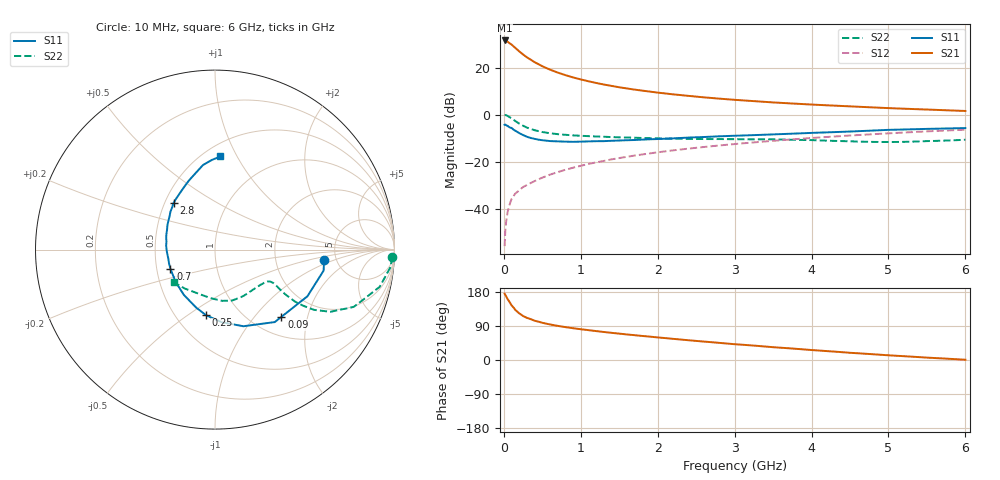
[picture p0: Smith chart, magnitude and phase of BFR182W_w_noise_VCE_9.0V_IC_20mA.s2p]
! (c) 2017  Infineon Technologies AG, Munich
! Infineon Technologies  Discrete & RF Semiconductors
! BFR182W
! VCE =  9.0 V,  IC =  20 mA
! Common Emitter S-Parameters:  Jan 2017
# GHz  S  MA  R  50
!  f  S11  S21  S12  S22
! GHz  MAG  ANG  MAG  ANG  MAG  ANG  MAG  ANG
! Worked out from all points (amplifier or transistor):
!   77 points, 10 MHz to 6 GHz, reference 50 ohm
!   highest |S21| = 31.6 dB at 10 MHz (marker M1)
!   |S21| within 3 dB of that: start of sweep to 143.4 MHz
!   unconditionally stable (mu >= 1): 854.4 MHz to 2.398 GHz
!   at 130 MHz: K = 0.41, MSG = 31.7 dB, |S12| = -34.4 dB
!   at 2.2 GHz: K = 1.01, MAG = 11.2 dB, |S12| = -15.2 dB
!   at 6 GHz: K = 0.86, MSG = 4.0 dB, |S12| = -6.4 dB
!   lowest NFmin = 1.41 dB at 450 MHz
!   S11 on the Smith chart (normalised r, x): 10 MHz: 4.00, -0.71; 90 MHz: 1.34, -1.39; 250 MHz: 0.70, -0.59; 700 MHz: 0.59, -0.14; 2.8 GHz: 0.56, +0.33; 6 GHz: 0.60, +0.86
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0.01  0.6104 -5.2  37.88 174.9  0.0016 85.1  0.9852 -2.4
0.02  0.6164 -10.9  37.76 171.4  0.0036 87.1  0.9848 -5.4
0.05  0.5769 -26.8  35.66 160.3  0.0086 78.8  0.9401 -12.8
0.09  0.5264 -45.4  31.75 147.8  0.0145 74.0  0.8554 -20.3
0.1  0.5234 -50.5  31.04 144.2  0.016 73.4  0.8368 -22.4
0.15  0.4553 -69.7  26.26 132.0  0.0211 67.1  0.7308 -28.3
0.2  0.4062 -84.7  22.23 123.1  0.0246 66.3  0.6463 -31.3
0.25  0.3691 -97.7  19.09 116.2  0.029 64.1  0.5816 -32.5
0.3  0.3394 -108.1  16.56 111.2  0.0319 64.9  0.5316 -33.0
0.4  0.3062 -124.5  13.06 103.6  0.0387 65.9  0.4674 -32.5
0.5  0.2865 -137.3  10.71 98.2  0.0458 67.6  0.4283 -31.6
0.6  0.2748 -148.0  9.083 93.8  0.0531 68.7  0.4033 -30.7
0.7  0.2706 -156.4  7.86 90.1  0.06 69.4  0.3857 -30.1
0.9  0.2649 -169.6  6.194 83.9  0.0746 70.2  0.3634 -29.9
1.1  0.2703 179.5  5.135 78.8  0.0896 70.9  0.35 -30.5
1.5  0.2825 163.9  3.833 69.6  0.1196 70.0  0.3302 -34.0
2.1  0.3083 146.5  2.826 57.8  0.1663 66.9  0.3111 -43.5
2.8  0.3471 131.7  2.194 45.2  0.2213 62.3  0.3031 -57.9
3.1  0.3607 125.7  2.019 40.3  0.2454 60.1  0.3005 -64.0
4.1  0.4153 109.6  1.613 24.9  0.3276 51.7  0.284 -84.5
5.1  0.48 96.9  1.36 11.2  0.4093 42.4  0.2629 -114.4
6  0.5196 86.8  1.2 0.7  0.4798 33.4  0.2933 -141.7
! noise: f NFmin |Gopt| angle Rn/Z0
0.45  1.41  0.11  -176  0.15
0.9  1.49  0.11  -171  0.15
1.9  2  0.28  -142  0.16
2.4  2.26  0.29  -128  0.26
